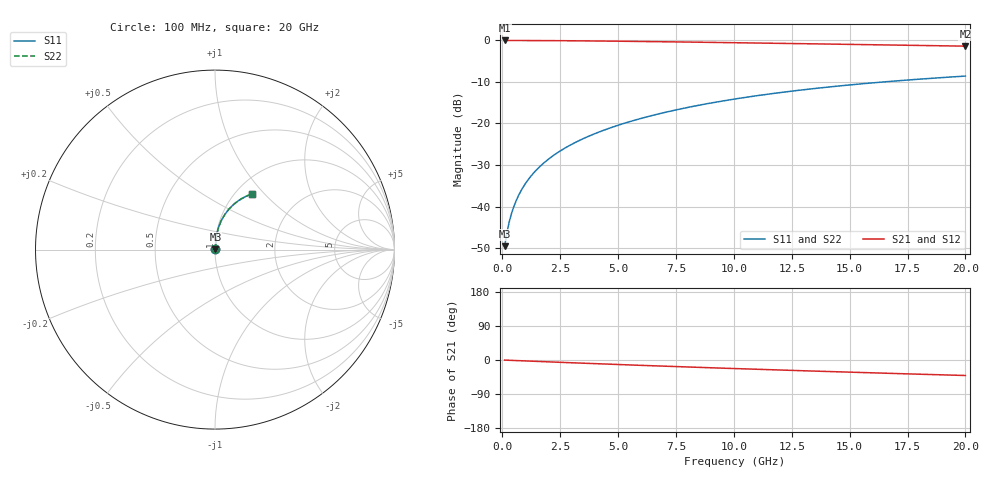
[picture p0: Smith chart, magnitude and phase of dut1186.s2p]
! Touchstone file exported from HFSS 2024.1.0
!  File:  C:/UserFiles/LocalFiles/RDL_TSV_Batchsim/temp_RDL_top_1186_1780049416.aedt
!  Generated:  06:12:29 PM May 29, 2026
!  Design:  RDL_top
!  Project:  temp_RDL_top_1186_1780049416
!  Setup:  Setup1
!  Solution:  Sweep
! Variables:
!  dtsv = 10.80580581um
!  hbump = 3um
!  htsv = 77.4um
!  ldown = 100um
!  lrdl = 578.41um
!  p = 40
!  p1 = 49.84um
!  rhole = 1um
!  t = 450um
!  tdown = 3.915915916um
!  trdl = 3.91um
!  wdown = 15.38538539um
!  wrdl = 21.11um
# GHz S MA R 50.000000
! Terminal data exported
! Port[1] = Box2_T1
! Port[2] = Box2_T2
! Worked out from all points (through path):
!   200 points, 100 MHz to 20 GHz, reference 50 ohm
!   highest |S21| = -0.02 dB at 100 MHz (marker M1); lowest = -1.4 dB at 20 GHz (marker M2)
!   group delay of S21, straight-line fit = 5.64 ps
!   lowest |S11| = -49.5 dB at 100 MHz (marker M3), VSWR 1.01, Z = 50.3 + j0.204 ohm
!   |S11| at or under -10 dB: start of sweep to 16.47 GHz
!   |S22| runs from -49.5 to -8.6 dB; largest |S21 - S12| = 4.7e-15
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0.1  0.003345 37.4  0.9973 -0.3  0.9973 -0.3  0.003345 37.4
! Gamma 0 0 0 0
! Port Impedance 50 0 50 0
0.2  0.004871 55.0  0.9972 -0.5  0.9972 -0.5  0.004871 55.0
0.3  0.006568 63.5  0.997 -0.8  0.997 -0.8  0.006568 63.5
0.4  0.008299 68.4  0.9968 -1.0  0.9968 -1.0  0.008299 68.4
0.5  0.01004 71.7  0.9967 -1.3  0.9967 -1.3  0.01004 71.7
0.6  0.0118 74.0  0.9965 -1.5  0.9965 -1.5  0.0118 74.0
0.8  0.01536 77.2  0.9962 -2.0  0.9962 -2.0  0.01536 77.2
1.1  0.02077 80.0  0.9956 -2.7  0.9956 -2.7  0.02077 80.0
1.3  0.02441 81.2  0.9952 -3.2  0.9952 -3.2  0.02441 81.2
1.6  0.02993 82.3  0.9944 -3.9  0.9944 -3.9  0.02993 82.3
2.1  0.03921 83.3  0.9927 -5.1  0.9927 -5.1  0.03921 83.3
2.7  0.05051 83.8  0.9903 -6.6  0.9903 -6.6  0.05051 83.8
3.5  0.06582 83.7  0.9863 -8.5  0.9863 -8.5  0.06582 83.7
4.2  0.07944 83.4  0.9822 -10.1  0.9822 -10.1  0.07944 83.4
5  0.09524 82.6  0.9769 -11.9  0.9769 -11.9  0.09524 82.6
6.8  0.1315 80.3  0.9637 -15.9  0.9637 -15.9  0.1315 80.3
8.4  0.164 77.8  0.9509 -19.3  0.9509 -19.3  0.164 77.8
10.1  0.1982 74.8  0.9368 -22.7  0.9368 -22.7  0.1982 74.8
11.7  0.2297 71.8  0.9232 -25.9  0.9232 -25.9  0.2297 71.8
13.4  0.262 68.6  0.9086 -29.1  0.9086 -29.1  0.262 68.6
16.7  0.3202 62.4  0.8801 -35.2  0.8801 -35.2  0.3202 62.4
20  0.3718 56.5  0.8517 -40.9  0.8517 -40.9  0.3718 56.5
